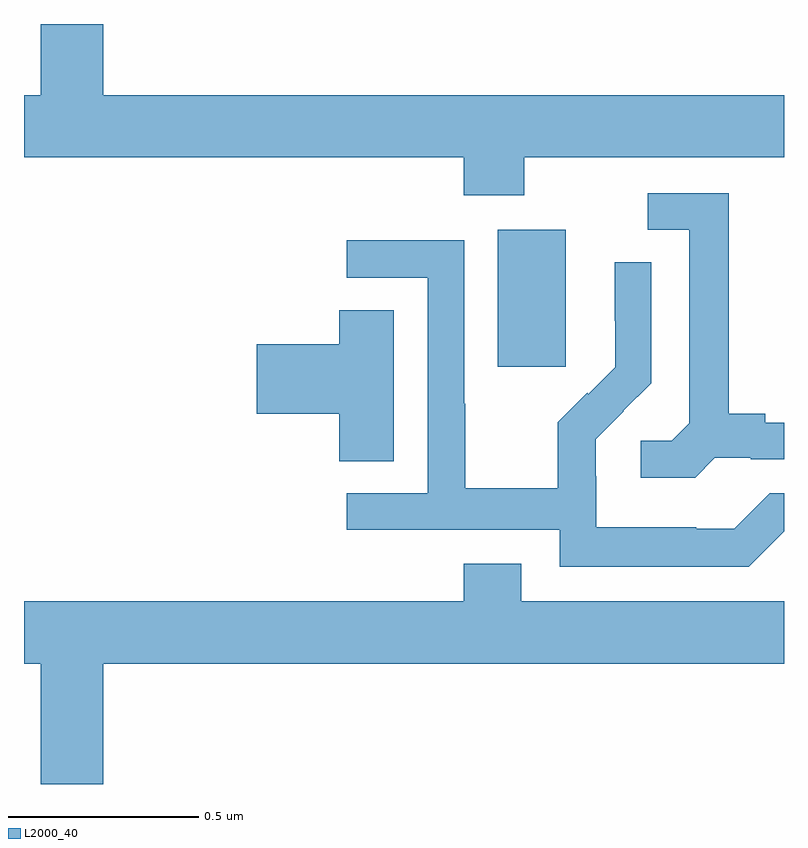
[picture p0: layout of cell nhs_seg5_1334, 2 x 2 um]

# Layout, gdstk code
import gdstk
lib = gdstk.Library(unit=1e-6, precision=1e-09)
def R(c, l, rs):  # rectangles x0, y0, x1, y1
    for r in rs: c.add(gdstk.rectangle(r[:2], r[2:], *l))
def P(c, l, *ps):  # polygons
    for p in ps: c.add(gdstk.Polygon(p, *l))
L2000_40 = (2000, 40)

nhs_seg5_1334 = lib.new_cell('nhs_seg5_1334')
R(nhs_seg5_1334, L2000_40, [(130.247,834.897,130.426,835.258)])
P(nhs_seg5_1334, L2000_40, [(130.317,835.448),(131,835.448),(131,835.612),(129.208,835.612),(129.208,835.799),(129.044,835.799),(129.044,835.612),(129,835.612),(129,835.448),(130.157,835.448),(130.157,835.349),(130.317,835.349)],
  [(130.818,834.657),(130.912,834.657),(130.912,834.654),(131,834.654),(131,834.75),(130.951,834.75),(130.951,834.773),(130.855,834.773),(130.855,835.353),(130.641,835.353),(130.641,835.257),(130.751,835.257),(130.751,834.749),(130.704,834.702),(130.623,834.702),(130.623,834.605),(130.766,834.605)],
  [(131,834.464),(131,834.564),(130.962,834.564),(130.869,834.471),(130.769,834.471),(130.769,834.475),(130.506,834.475),(130.506,834.609),(130.504,834.609),(130.504,834.706),(130.578,834.78),(130.577,834.781),(130.65,834.854),(130.65,835.172),(130.554,835.172),(130.554,835.018),(130.556,835.018),(130.556,834.896),(130.485,834.825),(130.482,834.828),(130.405,834.751),(130.405,834.577),(130.161,834.577),(130.161,834.8),(130.158,834.8),(130.158,835.23),(129.849,835.23),(129.849,835.131),(130.062,835.131),(130.062,834.564),(129.849,834.564),(129.849,834.468),(130.41,834.468),(130.41,834.371),(130.907,834.371)],
  [(129.973,835.046),(129.83,835.046),(129.83,834.956),(129.612,834.956),(129.612,834.773),(129.83,834.773),(129.83,834.649),(129.973,834.649)],
  [(129.208,834.116),(131,834.116),(131,834.28),(130.309,834.28),(130.309,834.379),(130.157,834.379),(130.157,834.28),(129,834.28),(129,834.116),(129.044,834.116),(129.044,833.799),(129.208,833.799)])

lib.write_gds('nhs_seg5_1334.gds')
